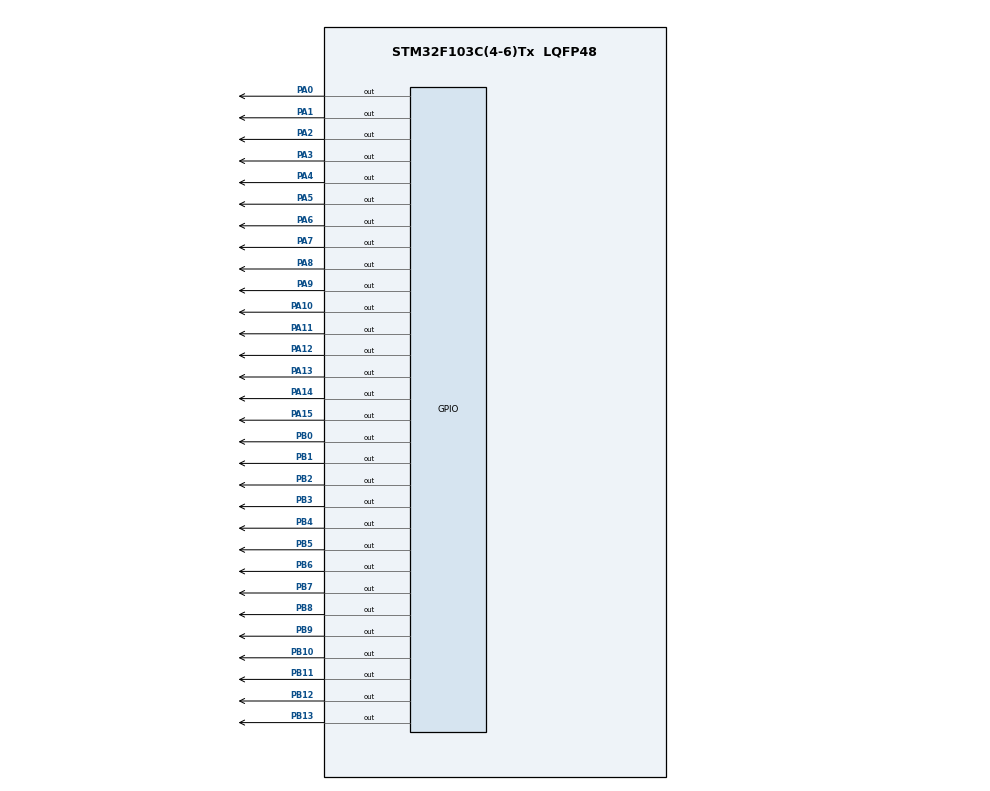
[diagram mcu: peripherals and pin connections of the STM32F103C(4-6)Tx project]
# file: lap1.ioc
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Mcu.Family=STM32F1
Mcu.Name=STM32F103C(4-6)Tx
Mcu.Package=LQFP48
NVIC.PriorityGroup=NVIC_PRIORITYGROUP_4
PA0-WKUP.Signal=GPIO_Output
PA1.Signal=GPIO_Output
PA10.Signal=GPIO_Output
PA11.Signal=GPIO_Output
PA12.Signal=GPIO_Output
PA13.Signal=GPIO_Output
PA14.Signal=GPIO_Output
PA15.Signal=GPIO_Output
PA2.Signal=GPIO_Output
PA3.Signal=GPIO_Output
PA4.Signal=GPIO_Output
PA5.Signal=GPIO_Output
PA6.Signal=GPIO_Output
PA7.Signal=GPIO_Output
PA8.Signal=GPIO_Output
PA9.Signal=GPIO_Output
PB0.Signal=GPIO_Output
PB1.Signal=GPIO_Output
PB10.Signal=GPIO_Output
PB11.Signal=GPIO_Output
PB12.Signal=GPIO_Output
PB13.Signal=GPIO_Output
PB2.Signal=GPIO_Output
PB3.Signal=GPIO_Output
PB4.Signal=GPIO_Output
PB5.Signal=GPIO_Output
PB6.Signal=GPIO_Output
PB7.Signal=GPIO_Output
PB8.Signal=GPIO_Output
PB9.Signal=GPIO_Output
ProjectManager.HeapSize=0x200
ProjectManager.StackSize=0x400
ProjectManager.TargetToolchain=STM32CubeIDE
RCC.APB1Freq_Value=8000000
RCC.APB2Freq_Value=8000000
VP_SYS_VS_ND.Mode=No_Debug
board=custom

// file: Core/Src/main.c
/* USER CODE BEGIN Header */
/**
  ******************************************************************************
  * @file           : main.c
  * @brief          : Main program body
  ******************************************************************************
  * @attention
  *
  * <h2><center>&copy; Copyright (c) 2021 STMicroelectronics.
  * All rights reserved.</center></h2>
  *
  * This software component is licensed by ST under BSD 3-Clause license,
  * the "License"; You may not use this file except in compliance with the
  * License. You may obtain a copy of the License at:
  *                        opensource.org/licenses/BSD-3-Clause
  *
  ******************************************************************************
  */
/* USER CODE END Header */
#include "main.h"

void SystemClock_Config(void);
static void MX_GPIO_Init(void);

int main(void)
{

  /* MCU Configuration--------------------------------------------------------*/

  /* Reset of all peripherals, Initializes the Flash interface and the Systick. */
  HAL_Init();

  /* Configure the system clock */
  SystemClock_Config();

  /* Initialize all configured peripherals */
  MX_GPIO_Init();

  /* Infinite loop */
  /* USER CODE BEGIN WHILE */
  // set begin case:
  HAL_GPIO_WritePin(GPIOA, GPIO_PIN_4, SET);
  HAL_GPIO_WritePin(GPIOA, GPIO_PIN_5, SET);
  HAL_GPIO_WritePin(GPIOA, GPIO_PIN_6, SET);
  HAL_GPIO_WritePin(GPIOA, GPIO_PIN_7, SET);
  HAL_GPIO_WritePin(GPIOA, GPIO_PIN_8, SET);
  HAL_GPIO_WritePin(GPIOA, GPIO_PIN_9, SET);
  HAL_GPIO_WritePin(GPIOA, GPIO_PIN_10, SET);
  HAL_GPIO_WritePin(GPIOA, GPIO_PIN_11, SET);
  HAL_GPIO_WritePin(GPIOA, GPIO_PIN_12, SET);
  HAL_GPIO_WritePin(GPIOA, GPIO_PIN_13, SET);
  HAL_GPIO_WritePin(GPIOA, GPIO_PIN_14, SET);
  HAL_GPIO_WritePin(GPIOA, GPIO_PIN_15, SET);
  ////////////////////////////////////////////////////////////////////////////
  // set the begin time here
  //////////////////////////
  int hour = 0;
  int min = 0;
  int sec = 0;
  while (1)
  {
    /* USER CODE END WHILE */
	  setNumberOnClock(hour);
	  setNumberOnClock(min);
	  setNumberOnClock(sec);
	  HAL_Delay(400);
	  clearNumberOnClock(hour);
	  clearNumberOnClock(min);
	  clearNumberOnClock(sec);

	  sec++;

	  if(sec == 12) {
		  min++;
		  sec = 0;
	  }
	  if(min == 12){
		  hour++;
		  min = 0;
	  }
	  if(hour == 12){
		  hour = 0;
	  }
  }
}
void clearAllClock()
{
	HAL_GPIO_WritePin(GPIOA, GPIO_PIN_4, SET);
	HAL_GPIO_WritePin(GPIOA, GPIO_PIN_5, SET);
	HAL_GPIO_WritePin(GPIOA, GPIO_PIN_6, SET);
	HAL_GPIO_WritePin(GPIOA, GPIO_PIN_7, SET);
	HAL_GPIO_WritePin(GPIOA, GPIO_PIN_8, SET);
	HAL_GPIO_WritePin(GPIOA, GPIO_PIN_9, SET);
	HAL_GPIO_WritePin(GPIOA, GPIO_PIN_10, SET);
	HAL_GPIO_WritePin(GPIOA, GPIO_PIN_11, SET);
	HAL_GPIO_WritePin(GPIOA, GPIO_PIN_12, SET);
	HAL_GPIO_WritePin(GPIOA, GPIO_PIN_13, SET);
	HAL_GPIO_WritePin(GPIOA, GPIO_PIN_14, SET);
	HAL_GPIO_WritePin(GPIOA, GPIO_PIN_15, SET);
}
void setNumberOnClock(int num)
{
	if(num == 0) HAL_GPIO_WritePin(GPIOA, GPIO_PIN_4, RESET);
	else if(num == 1) HAL_GPIO_WritePin(GPIOA, GPIO_PIN_5, RESET);
	else if(num == 2) HAL_GPIO_WritePin(GPIOA, GPIO_PIN_6, RESET);
	else if(num == 3) HAL_GPIO_WritePin(GPIOA, GPIO_PIN_7, RESET);
	else if(num == 4) HAL_GPIO_WritePin(GPIOA, GPIO_PIN_8, RESET);
	else if(num == 5) HAL_GPIO_WritePin(GPIOA, GPIO_PIN_9, RESET);
	else if(num == 6) HAL_GPIO_WritePin(GPIOA, GPIO_PIN_10, RESET);
	else if(num == 7) HAL_GPIO_WritePin(GPIOA, GPIO_PIN_11, RESET);
	else if(num == 8) HAL_GPIO_WritePin(GPIOA, GPIO_PIN_12, RESET);
	else if(num == 9) HAL_GPIO_WritePin(GPIOA, GPIO_PIN_13, RESET);
	else if(num == 10) HAL_GPIO_WritePin(GPIOA, GPIO_PIN_14, RESET);
	else if(num == 11) HAL_GPIO_WritePin(GPIOA, GPIO_PIN_15, RESET);
}
void clearNumberOnClock(int num)
{
	if(num == 0) HAL_GPIO_WritePin(GPIOA, GPIO_PIN_4, SET);
	else if(num == 1) HAL_GPIO_WritePin(GPIOA, GPIO_PIN_5, SET);
	else if(num == 2) HAL_GPIO_WritePin(GPIOA, GPIO_PIN_6, SET);
	else if(num == 3) HAL_GPIO_WritePin(GPIOA, GPIO_PIN_7, SET);
	else if(num == 4) HAL_GPIO_WritePin(GPIOA, GPIO_PIN_8, SET);
	else if(num == 5) HAL_GPIO_WritePin(GPIOA, GPIO_PIN_9, SET);
	else if(num == 6) HAL_GPIO_WritePin(GPIOA, GPIO_PIN_10, SET);
	else if(num == 7) HAL_GPIO_WritePin(GPIOA, GPIO_PIN_11, SET);
	else if(num == 8) HAL_GPIO_WritePin(GPIOA, GPIO_PIN_12, SET);
	else if(num == 9) HAL_GPIO_WritePin(GPIOA, GPIO_PIN_13, SET);
	else if(num == 10) HAL_GPIO_WritePin(GPIOA, GPIO_PIN_14, SET);
	else if(num == 11) HAL_GPIO_WritePin(GPIOA, GPIO_PIN_15, SET);
}
void SystemClock_Config(void)
{
  RCC_OscInitTypeDef RCC_OscInitStruct = {0};
  RCC_ClkInitTypeDef RCC_ClkInitStruct = {0};

  /** Initializes the RCC Oscillators according to the specified parameters
  * in the RCC_OscInitTypeDef structure.
  */
  RCC_OscInitStruct.OscillatorType = RCC_OSCILLATORTYPE_HSI;
  RCC_OscInitStruct.HSIState = RCC_HSI_ON;
  RCC_OscInitStruct.HSICalibrationValue = RCC_HSICALIBRATION_DEFAULT;
  RCC_OscInitStruct.PLL.PLLState = RCC_PLL_NONE;
  if (HAL_RCC_OscConfig(&RCC_OscInitStruct) != HAL_OK)
  {
    Error_Handler();
  }
  /** Initializes the CPU, AHB and APB buses clocks
  */
  RCC_ClkInitStruct.ClockType = RCC_CLOCKTYPE_HCLK|RCC_CLOCKTYPE_SYSCLK
                              |RCC_CLOCKTYPE_PCLK1|RCC_CLOCKTYPE_PCLK2;
  RCC_ClkInitStruct.SYSCLKSource = RCC_SYSCLKSOURCE_HSI;
  RCC_ClkInitStruct.AHBCLKDivider = RCC_SYSCLK_DIV1;
  RCC_ClkInitStruct.APB1CLKDivider = RCC_HCLK_DIV1;
  RCC_ClkInitStruct.APB2CLKDivider = RCC_HCLK_DIV1;

  if (HAL_RCC_ClockConfig(&RCC_ClkInitStruct, FLASH_LATENCY_0) != HAL_OK)
  {
    Error_Handler();
  }
}

static void MX_GPIO_Init(void)
{
  GPIO_InitTypeDef GPIO_InitStruct = {0};

  /* GPIO Ports Clock Enable */
  __HAL_RCC_GPIOA_CLK_ENABLE();
  __HAL_RCC_GPIOB_CLK_ENABLE();

  /*Configure GPIO pin Output Level */
  HAL_GPIO_WritePin(GPIOA, GPIO_PIN_0|GPIO_PIN_1|GPIO_PIN_2|GPIO_PIN_3
                          |GPIO_PIN_4|GPIO_PIN_5|GPIO_PIN_6|GPIO_PIN_7
                          |GPIO_PIN_8|GPIO_PIN_9|GPIO_PIN_10|GPIO_PIN_11
                          |GPIO_PIN_12|GPIO_PIN_13|GPIO_PIN_14|GPIO_PIN_15, GPIO_PIN_RESET);

  /*Configure GPIO pin Output Level */
  HAL_GPIO_WritePin(GPIOB, GPIO_PIN_0|GPIO_PIN_1|GPIO_PIN_2|GPIO_PIN_10
                          |GPIO_PIN_11|GPIO_PIN_12|GPIO_PIN_13|GPIO_PIN_3
                          |GPIO_PIN_4|GPIO_PIN_5|GPIO_PIN_6|GPIO_PIN_7
                          |GPIO_PIN_8|GPIO_PIN_9, GPIO_PIN_RESET);

  /*Configure GPIO pins : PA0 PA1 PA2 PA3
                           PA4 PA5 PA6 PA7
                           PA8 PA9 PA10 PA11
                           PA12 PA13 PA14 PA15 */
  GPIO_InitStruct.Pin = GPIO_PIN_0|GPIO_PIN_1|GPIO_PIN_2|GPIO_PIN_3
                          |GPIO_PIN_4|GPIO_PIN_5|GPIO_PIN_6|GPIO_PIN_7
                          |GPIO_PIN_8|GPIO_PIN_9|GPIO_PIN_10|GPIO_PIN_11
                          |GPIO_PIN_12|GPIO_PIN_13|GPIO_PIN_14|GPIO_PIN_15;
  GPIO_InitStruct.Mode = GPIO_MODE_OUTPUT_PP;
  GPIO_InitStruct.Pull = GPIO_NOPULL;
  GPIO_InitStruct.Speed = GPIO_SPEED_FREQ_LOW;
  HAL_GPIO_Init(GPIOA, &GPIO_InitStruct);

  /*Configure GPIO pins : PB0 PB1 PB2 PB10
                           PB11 PB12 PB13 PB3
                           PB4 PB5 PB6 PB7
                           PB8 PB9 */
  GPIO_InitStruct.Pin = GPIO_PIN_0|GPIO_PIN_1|GPIO_PIN_2|GPIO_PIN_10
                          |GPIO_PIN_11|GPIO_PIN_12|GPIO_PIN_13|GPIO_PIN_3
                          |GPIO_PIN_4|GPIO_PIN_5|GPIO_PIN_6|GPIO_PIN_7
                          |GPIO_PIN_8|GPIO_PIN_9;
  GPIO_InitStruct.Mode = GPIO_MODE_OUTPUT_PP;
  GPIO_InitStruct.Pull = GPIO_NOPULL;
  GPIO_InitStruct.Speed = GPIO_SPEED_FREQ_LOW;
  HAL_GPIO_Init(GPIOB, &GPIO_InitStruct);

}

void Error_Handler(void)
{
  __disable_irq();
  while (1)
  {
  }
}

/************************ (C) COPYRIGHT STMicroelectronics *****END OF FILE****/
